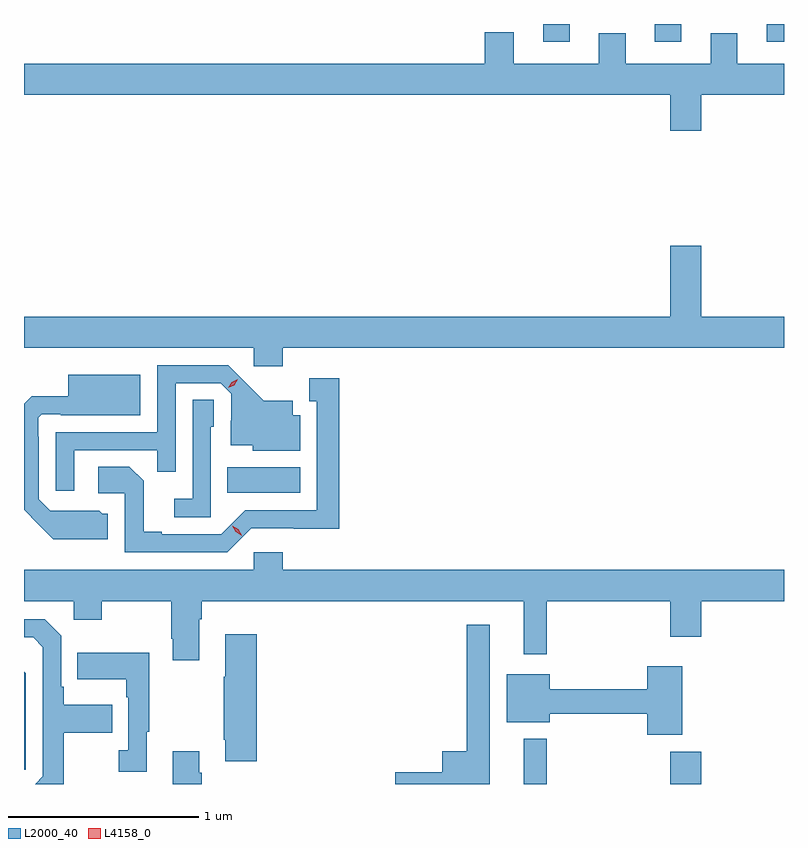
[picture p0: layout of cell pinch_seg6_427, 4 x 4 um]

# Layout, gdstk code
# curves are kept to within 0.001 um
import gdstk
lib = gdstk.Library(unit=1e-6, precision=1e-09)
def R(c, l, rs):  # rectangles x0, y0, x1, y1
    for r in rs: c.add(gdstk.rectangle(r[:2], r[2:], *l))
def P(c, l, *ps):  # polygons
    for p in ps: c.add(gdstk.Polygon(p, *l))
L2000_40 = (2000, 40)
L4158_0 = (4158, 0)

pinch_seg6_427 = lib.new_cell('pinch_seg6_427')
R(pinch_seg6_427, L2000_40, [(715.685,930.389,715.807,930.628), (716.456,930.389,716.62,930.559), (714.124,931.922,714.508,932.056), (715.787,934.296,715.927,934.389), (716.375,934.296,716.515,934.389), (716.963,934.296,717.055,934.389)])
P(pinch_seg6_427, L2000_40, [(716.62,934.016),(717.055,934.016),(717.055,934.18),(716.809,934.18),(716.809,934.34),(716.669,934.34),(716.669,934.18),(716.221,934.18),(716.221,934.34),(716.081,934.34),(716.081,934.18),(715.633,934.18),(715.633,934.345),(715.481,934.345),(715.481,934.18),(713.055,934.18),(713.055,934.016),(716.456,934.016),(716.456,933.828),(716.62,933.828)],
  [(714.416,932.684),(717.055,932.684),(717.055,932.848),(716.62,932.848),(716.62,933.223),(716.456,933.223),(716.456,932.848),(713.055,932.848),(713.055,932.684),(714.264,932.684),(714.264,932.589),(714.416,932.589)],
  [(713.319,932.145),(713.755,932.145),(713.755,932.032),(713.853,932.032),(713.853,932.499),(714.09,932.499),(714.147,932.442),(714.147,932.3),(714.143,932.3),(714.143,932.171),(714.258,932.171),(714.258,932.144),(714.508,932.144),(714.508,932.329),(714.469,932.329),(714.469,932.407),(714.317,932.407),(714.13,932.592),(713.757,932.592),(713.757,932.241),(713.223,932.241),(713.223,931.932),(713.319,931.932)],
  [(713.497,931.812),(713.466,931.812),(713.45,931.828),(713.193,931.827),(713.133,931.887),(713.133,932.216),(713.13,932.216),(713.13,932.316),(713.148,932.334),(713.248,932.334),(713.248,932.33),(713.668,932.33),(713.668,932.542),(713.288,932.542),(713.288,932.431),(713.096,932.431),(713.055,932.39),(713.055,931.832),(713.209,931.676),(713.497,931.676)],
  [(714.252,931.734),(714.715,931.733),(714.715,932.524),(714.557,932.524),(714.557,932.403),(714.596,932.403),(714.596,931.83),(714.219,931.83),(714.093,931.704),(713.779,931.704),(713.779,931.717),(713.685,931.717),(713.685,931.984),(713.609,932.06),(713.445,932.06),(713.445,931.92),(713.586,931.92),(713.586,931.608),(714.126,931.608)],
  [(714.039,932.268),(714.054,932.268),(714.054,932.411),(713.943,932.411),(713.943,931.891),(713.847,931.891),(713.847,931.794),(714.039,931.794)],
  [(713.977,931.256),(713.99,931.256),(713.99,931.352),(715.685,931.352),(715.685,931.071),(715.807,931.071),(715.807,931.352),(716.456,931.352),(716.456,931.164),(716.62,931.164),(716.62,931.352),(717.055,931.352),(717.055,931.516),(714.416,931.516),(714.416,931.609),(714.264,931.609),(714.264,931.516),(713.055,931.516),(713.055,931.352),(713.316,931.352),(713.316,931.253),(713.463,931.253),(713.463,931.352),(713.83,931.352),(713.83,931.153),(713.837,931.153),(713.837,931.041),(713.977,931.041)],
  [(713.263,930.658),(713.519,930.658),(713.519,930.805),(713.263,930.805),(713.263,930.901),(713.25,930.901),(713.25,931.17),(713.163,931.257),(713.055,931.257),(713.055,931.161),(713.103,931.161),(713.154,931.11),(713.154,930.429),(713.114,930.389),(713.263,930.389)],
  [(715.507,931.228),(715.386,931.228),(715.386,930.562),(715.256,930.562),(715.256,930.452),(715.008,930.452),(715.008,930.389),(715.507,930.389)],
  [(714.281,931.177),(714.113,931.177),(714.113,930.953),(714.106,930.953),(714.106,930.622),(714.113,930.622),(714.113,930.51),(714.281,930.51)],
  [(713.701,930.665),(713.713,930.665),(713.713,931.081),(713.335,931.081),(713.335,930.941),(713.592,930.941),(713.592,930.845),(713.604,930.845),(713.604,930.566),(713.553,930.566),(713.553,930.453),(713.701,930.453)],
  [(716.519,931.009),(716.336,931.009),(716.336,930.889),(715.822,930.889),(715.822,930.967),(715.595,930.967),(715.595,930.713),(715.822,930.713),(715.822,930.76),(716.336,930.76),(716.336,930.648),(716.519,930.648)],
  [(713.064,930.972),(713.055,930.981),(713.055,930.465),(713.064,930.465)],
  [(713.99,930.449),(713.977,930.449),(713.977,930.562),(713.837,930.562),(713.837,930.389),(713.99,930.389)])
P(pinch_seg6_427, L4158_0, [(714.131,932.475),(714.131,932.475),(714.149,932.504),(714.18,932.518),(714.18,932.518),(714.18,932.518),(714.162,932.489),(714.131,932.475)],
  [(714.2,931.696),(714.169,931.716),(714.151,931.749),(714.151,931.749),(714.152,931.749),(714.183,931.729),(714.201,931.697),(714.201,931.696)])

lib.write_gds('pinch_seg6_427.gds')
